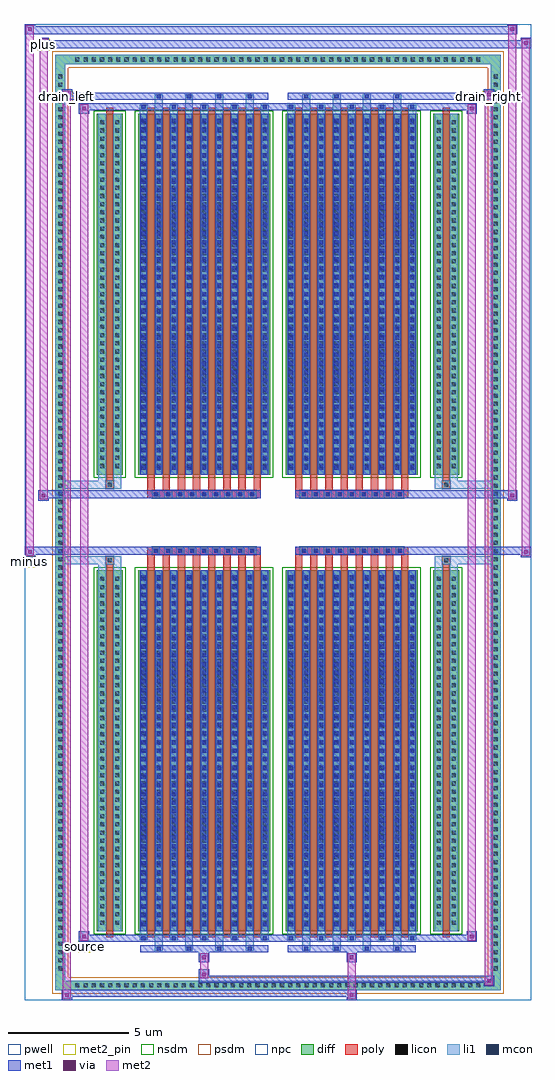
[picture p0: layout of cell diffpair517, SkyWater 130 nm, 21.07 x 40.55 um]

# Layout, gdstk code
import gdstk
lib = gdstk.Library(unit=1e-6, precision=5e-09)
def R(c, l, rs):  # rectangles x0, y0, x1, y1
    for r in rs: c.add(gdstk.rectangle(r[:2], r[2:], *l))
def A(c, l, x, y, w, h, nx, ny, dx, dy):  # array of equal rectangles
    R(c, l, [(x+i*dx, y+j*dy, x+i*dx+w, y+j*dy+h) for i in range(nx) for j in range(ny)])
def P(c, l, *ps):  # polygons
    for p in ps: c.add(gdstk.Polygon(p, *l))
pwell = (64, 44)
diff = (65, 20)
poly = (66, 20)
licon = (66, 44)
li1 = (67, 20)
mcon = (67, 44)
met1 = (68, 20)
via = (68, 44)
met2_pin = (69, 16)
met2 = (69, 20)
nsdm = (93, 44)
psdm = (94, 20)
npc = (95, 20)

diffpair517 = lib.new_cell('diffpair517')
R(diffpair517, pwell, [(-10.52,-19.84,10.52,20.71), (-7.84,-18.03,-0.01,-0.805), (0.01,-18.03,7.84,-0.805), (-7.84,0.805,-0.01,18.03), (0.01,0.805,7.84,18.03)])
A(diffpair517, diff, -8.535, -19.44, 0.41, 0.41, 50, 2, 0.34, 38.47)
A(diffpair517, diff, -9.25, -18.735, 0.41, 0.41, 1, 110, 0, 0.34)
A(diffpair517, diff, 8.84, -18.735, 0.41, 0.41, 1, 110, 0, 0.34)
R(diffpair517, diff, [(-8.535,-19.44,8.535,-19.03), (-9.25,-18.735,-8.84,18.735), (8.84,-18.735,9.25,18.735), (-7.53,-16.985,-6.45,-1.985), (-5.81,-16.985,-0.32,-1.985), (0.32,-16.985,5.81,-1.985), (6.45,-16.985,7.53,-1.985), (-7.53,1.985,-6.45,16.985), (-5.81,1.985,-0.32,16.985), (0.32,1.985,5.81,16.985), (6.45,1.985,7.53,16.985), (-8.535,19.03,8.535,19.44)])
P(diffpair517, diff, [(9.25,19.44),(-9.25,19.44),(-9.25,-19.03),(-8.84,-19.03),(-8.84,19.03),(8.84,19.03),(8.84,-19.03),(-8.84,-19.03),(-9.25,-19.03),(-9.25,-19.44),(9.25,-19.44)])
A(diffpair517, poly, -5.42, -17.235, 0.3, 15.5, 8, 2, 0.63, 18.97)
A(diffpair517, poly, 0.71, -17.235, 0.3, 15.5, 8, 2, 0.63, 18.97)
A(diffpair517, poly, -5.42, -1.735, 0.3, 0.4, 8, 2, 0.63, 3.07)
A(diffpair517, poly, 0.71, -1.735, 0.3, 0.4, 8, 2, 0.63, 3.07)
A(diffpair517, poly, -5.23, -1.335, 0.33, 0.33, 9, 2, 0.5, 2.34)
A(diffpair517, poly, 0.9, -1.335, 0.33, 0.33, 9, 2, 0.5, 2.34)
R(diffpair517, poly, [(-7.14,-17.235,-6.84,-1.735), (6.84,-17.235,7.14,-1.735), (-7.155,-1.735,-6.825,-1.405), (-7.155,-1.735,-6.825,-1.405), (6.825,-1.735,7.155,-1.405), (6.825,-1.735,7.155,-1.405), (-5.42,-1.335,-0.71,-1.005), (0.71,-1.335,5.42,-1.005), (-5.42,1.005,-0.71,1.335), (0.71,1.005,5.42,1.335), (-7.155,1.405,-6.825,1.735), (-7.155,1.405,-6.825,1.735), (6.825,1.405,7.155,1.735), (6.825,1.405,7.155,1.735), (-7.14,1.735,-6.84,17.235), (6.84,1.735,7.14,17.235)])
A(diffpair517, licon, -8.415, -19.32, 0.17, 0.17, 50, 2, 0.34, 38.47)
A(diffpair517, licon, -9.13, -18.615, 0.17, 0.17, 1, 110, 0, 0.34)
A(diffpair517, licon, 8.96, -18.615, 0.17, 0.17, 1, 110, 0, 0.34)
A(diffpair517, licon, -7.39, -16.71, 0.17, 0.17, 1, 43, 0, 0.34)
A(diffpair517, licon, -6.76, -16.71, 0.17, 0.17, 1, 43, 0, 0.34)
A(diffpair517, licon, -5.67, -16.71, 0.17, 0.17, 9, 43, 0.63, 0.34)
A(diffpair517, licon, 0.46, -16.71, 0.17, 0.17, 9, 43, 0.63, 0.34)
A(diffpair517, licon, 6.59, -16.71, 0.17, 0.17, 1, 43, 0, 0.34)
A(diffpair517, licon, 7.22, -16.71, 0.17, 0.17, 1, 43, 0, 0.34)
A(diffpair517, licon, -5.15, -1.255, 0.17, 0.17, 9, 2, 0.5, 2.34)
A(diffpair517, licon, 0.98, -1.255, 0.17, 0.17, 9, 2, 0.5, 2.34)
A(diffpair517, licon, -7.39, 2.26, 0.17, 0.17, 1, 43, 0, 0.34)
A(diffpair517, licon, -6.76, 2.26, 0.17, 0.17, 1, 43, 0, 0.34)
A(diffpair517, licon, -5.67, 2.26, 0.17, 0.17, 9, 43, 0.63, 0.34)
A(diffpair517, licon, 0.46, 2.26, 0.17, 0.17, 9, 43, 0.63, 0.34)
A(diffpair517, licon, 6.59, 2.26, 0.17, 0.17, 1, 43, 0, 0.34)
A(diffpair517, licon, 7.22, 2.26, 0.17, 0.17, 1, 43, 0, 0.34)
R(diffpair517, licon, [(-7.075,-1.655,-6.905,-1.485), (6.905,-1.655,7.075,-1.485), (-7.075,1.485,-6.905,1.655), (6.905,1.485,7.075,1.655)])
A(diffpair517, li1, -8.495, -19.4, 0.33, 0.33, 50, 2, 0.34, 38.47)
A(diffpair517, li1, -9.21, -18.695, 0.33, 0.33, 1, 110, 0, 0.34)
A(diffpair517, li1, 8.88, -18.695, 0.33, 0.33, 1, 110, 0, 0.34)
A(diffpair517, li1, -5.12, -17.79, 0.33, 0.805, 4, 2, 1.26, 34.775)
A(diffpair517, li1, -5.04, -17.79, 0.17, 0.17, 4, 2, 1.26, 35.41)
A(diffpair517, li1, 1.01, -17.79, 0.33, 0.805, 4, 2, 1.26, 34.775)
A(diffpair517, li1, 1.09, -17.79, 0.17, 0.17, 4, 2, 1.26, 35.41)
A(diffpair517, li1, -5.75, -17.36, 0.33, 0.375, 5, 2, 1.26, 34.345)
A(diffpair517, li1, -5.67, -17.36, 0.17, 0.17, 5, 2, 1.26, 34.55)
A(diffpair517, li1, 0.38, -17.36, 0.33, 0.375, 5, 2, 1.26, 34.345)
A(diffpair517, li1, 0.46, -17.36, 0.17, 0.17, 5, 2, 1.26, 34.55)
A(diffpair517, li1, -5.75, -16.985, 0.33, 15, 9, 2, 0.63, 18.97)
A(diffpair517, li1, 0.38, -16.985, 0.33, 15, 9, 2, 0.63, 18.97)
A(diffpair517, li1, -7.47, -16.79, 0.33, 0.33, 1, 43, 0, 0.34)
A(diffpair517, li1, -6.84, -16.79, 0.33, 0.33, 1, 43, 0, 0.34)
A(diffpair517, li1, -5.75, -16.79, 0.33, 0.33, 9, 43, 0.63, 0.34)
A(diffpair517, li1, 0.38, -16.79, 0.33, 0.33, 9, 43, 0.63, 0.34)
A(diffpair517, li1, 6.51, -16.79, 0.33, 0.33, 1, 43, 0, 0.34)
A(diffpair517, li1, 7.14, -16.79, 0.33, 0.33, 1, 43, 0, 0.34)
A(diffpair517, li1, -5.67, -16.77, 0.17, 0.17, 9, 41, 0.63, 0.36)
A(diffpair517, li1, -5.67, -16.77, 0.17, 14.57, 9, 2, 0.63, 18.97)
A(diffpair517, li1, 0.46, -16.77, 0.17, 0.17, 9, 41, 0.63, 0.36)
A(diffpair517, li1, 0.46, -16.77, 0.17, 14.57, 9, 2, 0.63, 18.97)
A(diffpair517, li1, -5.23, -1.335, 0.33, 0.33, 9, 2, 0.5, 2.34)
A(diffpair517, li1, 0.9, -1.335, 0.33, 0.33, 9, 2, 0.5, 2.34)
A(diffpair517, li1, -7.47, 2.18, 0.33, 0.33, 1, 43, 0, 0.34)
A(diffpair517, li1, -6.84, 2.18, 0.33, 0.33, 1, 43, 0, 0.34)
A(diffpair517, li1, -5.75, 2.18, 0.33, 0.33, 9, 43, 0.63, 0.34)
A(diffpair517, li1, 0.38, 2.18, 0.33, 0.33, 9, 43, 0.63, 0.34)
A(diffpair517, li1, 6.51, 2.18, 0.33, 0.33, 1, 43, 0, 0.34)
A(diffpair517, li1, 7.14, 2.18, 0.33, 0.33, 1, 43, 0, 0.34)
A(diffpair517, li1, -5.67, 2.2, 0.17, 0.17, 9, 41, 0.63, 0.36)
A(diffpair517, li1, 0.46, 2.2, 0.17, 0.17, 9, 41, 0.63, 0.36)
R(diffpair517, li1, [(-9.25,-19.44,-8.84,-19.03), (-9.25,-19.44,-8.84,-19.03), (-8.84,-19.44,8.84,-19.03), (8.84,-19.44,9.25,-19.03), (8.84,-19.44,9.25,-19.03), (-9.25,-19.03,-8.84,19.03), (8.84,-19.03,9.25,19.03), (-7.47,-16.985,-7.14,-1.985), (-6.84,-16.985,-6.51,-1.985), (6.51,-16.985,6.84,-1.985), (7.14,-16.985,7.47,-1.985), (-7.47,-1.985,-7.14,-1.405), (-6.84,-1.985,-6.51,-1.405), (6.51,-1.985,6.84,-1.405), (7.14,-1.985,7.47,-1.405), (-9.25,-1.735,-7.155,-1.405), (-7.47,-1.735,-7.155,-1.405), (-7.155,-1.735,-6.825,-1.405), (-6.825,-1.735,-6.51,-1.405), (6.51,-1.735,6.825,-1.405), (6.825,-1.735,7.155,-1.405), (6.825,-1.735,9.25,-1.405), (7.155,-1.735,7.47,-1.405), (-9.25,1.405,-7.155,1.735), (-7.47,1.405,-7.155,1.735), (-7.47,1.405,-7.14,1.985), (-7.155,1.405,-6.825,1.735), (-6.84,1.405,-6.51,1.985), (-6.825,1.405,-6.51,1.735), (6.51,1.405,6.825,1.735), (6.51,1.405,6.84,1.985), (6.825,1.405,7.155,1.735), (6.825,1.405,9.25,1.735), (7.14,1.405,7.47,1.985), (7.155,1.405,7.47,1.735), (-7.47,1.985,-7.14,16.985), (-6.84,1.985,-6.51,16.985), (6.51,1.985,6.84,16.985), (7.14,1.985,7.47,16.985), (-9.25,19.03,-8.84,19.44), (-9.25,19.03,-8.84,19.44), (-8.84,19.03,8.84,19.44), (8.84,19.03,9.25,19.44), (8.84,19.03,9.25,19.44)])
A(diffpair517, mcon, -5.04, -17.79, 0.17, 0.17, 4, 2, 1.26, 35.41)
A(diffpair517, mcon, 1.09, -17.79, 0.17, 0.17, 4, 2, 1.26, 35.41)
A(diffpair517, mcon, -5.67, -17.36, 0.17, 0.17, 5, 2, 1.26, 34.55)
A(diffpair517, mcon, 0.46, -17.36, 0.17, 0.17, 5, 2, 1.26, 34.55)
A(diffpair517, mcon, -5.67, -16.77, 0.17, 0.17, 9, 41, 0.63, 0.36)
A(diffpair517, mcon, 0.46, -16.77, 0.17, 0.17, 9, 41, 0.63, 0.36)
A(diffpair517, mcon, -5.15, -1.255, 0.17, 0.17, 9, 2, 0.5, 2.34)
A(diffpair517, mcon, 0.98, -1.255, 0.17, 0.17, 9, 2, 0.5, 2.34)
A(diffpair517, mcon, -5.67, 2.2, 0.17, 0.17, 9, 41, 0.63, 0.36)
A(diffpair517, mcon, 0.46, 2.2, 0.17, 0.17, 9, 41, 0.63, 0.36)
A(diffpair517, met1, -5.1, -17.85, 0.29, 0.29, 4, 2, 1.26, 35.41)
A(diffpair517, met1, 1.03, -17.85, 0.29, 0.29, 4, 2, 1.26, 35.41)
A(diffpair517, met1, -5.73, -17.42, 0.29, 0.29, 5, 2, 1.26, 34.55)
A(diffpair517, met1, 0.4, -17.42, 0.29, 0.29, 5, 2, 1.26, 34.55)
A(diffpair517, met1, -5.73, -16.985, 0.29, 15, 9, 2, 0.63, 18.97)
A(diffpair517, met1, 0.4, -16.985, 0.29, 15, 9, 2, 0.63, 18.97)
A(diffpair517, met1, -5.73, -16.83, 0.29, 0.29, 9, 41, 0.63, 0.36)
A(diffpair517, met1, 0.4, -16.83, 0.29, 0.29, 9, 41, 0.63, 0.36)
A(diffpair517, met1, -5.21, -1.315, 0.29, 0.29, 9, 2, 0.5, 2.34)
A(diffpair517, met1, 0.92, -1.315, 0.29, 0.29, 9, 2, 0.5, 2.34)
A(diffpair517, met1, -5.73, 2.14, 0.29, 0.29, 9, 41, 0.63, 0.36)
A(diffpair517, met1, 0.4, 2.14, 0.29, 0.29, 9, 41, 0.63, 0.36)
R(diffpair517, met1, [(-8.98,-19.84,-8.55,-19.41), (2.85,-19.84,3.28,-19.41), (-8.98,-19.7,3.28,-19.41), (8.55,-19.27,8.98,-18.84), (-3.28,-19.13,8.98,-18.84), (-3.28,-18.99,-2.85,-18.56), (-3.28,-18.28,-2.85,-17.85), (2.85,-18.28,3.28,-17.85), (-5.73,-17.85,-0.4,-17.56), (0.4,-17.85,5.73,-17.56), (-8.27,-17.42,-7.84,-16.99), (-8.27,-17.42,-5.73,-17.13), (-5.73,-17.42,-0.4,-17.13), (-0.4,-17.42,0.4,-17.13), (0.4,-17.42,5.73,-17.13), (5.73,-17.42,8.27,-17.13), (7.84,-17.42,8.27,-16.99), (-10.52,-1.435,-10.09,-1.005), (10.09,-1.435,10.52,-1.005), (-10.52,-1.335,-0.71,-1.005), (-5.42,-1.335,-0.71,-1.005), (0.71,-1.335,5.42,-1.005), (0.71,-1.335,10.52,-1.005), (-9.95,0.905,-9.52,1.335), (9.52,0.905,9.95,1.335), (-9.95,1.005,-5.42,1.335), (-5.42,1.005,-0.71,1.335), (0.71,1.005,5.42,1.335), (5.42,1.005,9.95,1.335), (-8.27,16.99,-7.84,17.42), (7.84,16.99,8.27,17.42), (-8.27,17.13,-5.73,17.42), (-5.73,17.13,-0.4,17.42), (-0.4,17.13,0.4,17.42), (0.4,17.13,5.73,17.42), (5.73,17.13,8.27,17.42), (-8.98,17.56,-8.55,17.99), (-8.98,17.56,-5.73,17.85), (-5.73,17.56,-0.4,17.85), (0.4,17.56,5.73,17.85), (5.73,17.56,8.98,17.85), (8.55,17.56,8.98,17.99), (-9.95,19.71,-9.52,20.14), (-9.95,19.71,-7.84,20.04), (-7.84,19.71,7.84,20.04), (7.84,19.71,10.52,20.04), (10.09,19.71,10.52,20.14), (-10.52,20.28,-10.09,20.71), (-10.52,20.28,-7.84,20.61), (-7.84,20.28,7.84,20.61), (7.84,20.28,9.95,20.61), (9.52,20.28,9.95,20.71)])
R(diffpair517, via, [(-8.84,-19.7,-8.69,-19.55), (2.99,-19.7,3.14,-19.55), (8.69,-19.13,8.84,-18.98), (-3.14,-18.85,-2.99,-18.7), (-3.14,-18.14,-2.99,-17.99), (2.99,-18.14,3.14,-17.99), (-8.13,-17.28,-7.98,-17.13), (7.98,-17.28,8.13,-17.13), (-10.38,-1.295,-10.23,-1.145), (10.23,-1.295,10.38,-1.145), (-9.81,1.045,-9.66,1.195), (9.66,1.045,9.81,1.195), (-8.13,17.13,-7.98,17.28), (7.98,17.13,8.13,17.28), (-8.84,17.7,-8.69,17.85), (8.69,17.7,8.84,17.85), (-9.81,19.85,-9.66,20), (10.23,19.85,10.38,20), (-10.38,20.42,-10.23,20.57), (9.66,20.42,9.81,20.57)])
R(diffpair517, met2_pin, [(-8.305,-17.87,-7.805,-17.37), (-10.555,-1.885,-10.055,-1.385), (-9.015,17.44,-8.515,17.94), (8.515,17.44,9.015,17.94), (-9.985,19.59,-9.485,20.09)])
R(diffpair517, met2, [(-8.93,-19.79,-8.6,-19.46), (-8.93,-19.79,-8.6,17.94), (2.9,-19.79,3.23,-19.46), (2.9,-19.46,3.23,-18.23), (8.6,-19.22,8.93,-18.89), (8.6,-19.22,8.93,17.94), (-3.23,-18.94,-2.9,-18.61), (-3.23,-18.61,-2.9,-18.23), (-3.23,-18.23,-2.9,-17.9), (2.9,-18.23,3.23,-17.9), (-8.22,-17.37,-7.89,-17.04), (-8.22,-17.37,-7.89,17.37), (7.89,-17.37,8.22,-17.04), (7.89,-17.37,8.22,17.37), (-10.47,-1.385,-10.14,-1.055), (-10.47,-1.385,-10.14,20.66), (10.14,-1.385,10.47,-1.055), (10.14,-1.385,10.47,20.09), (-9.9,0.955,-9.57,1.285), (-9.9,0.955,-9.57,20.09), (9.57,0.955,9.9,1.285), (9.57,0.955,9.9,20.66), (-8.22,17.04,-7.89,17.37), (7.89,17.04,8.22,17.37), (-8.93,17.61,-8.6,17.94), (8.6,17.61,8.93,17.94), (-9.9,19.76,-9.57,20.09), (10.14,19.76,10.47,20.09), (-10.47,20.33,-10.14,20.66), (9.57,20.33,9.9,20.66)])
P(diffpair517, met2, [(10.47,-1.385),(10.47,-1.385),(10.47,-1.055),(10.47,-1.055)],
  [(10.47,19.76),(10.47,19.76),(10.47,20.09),(10.47,20.09)],
  [(-10.14,-1.385),(-10.14,-1.385),(-10.14,-1.055),(-10.14,-1.055)],
  [(-10.14,20.33),(-10.14,20.33),(-10.14,20.66),(-10.14,20.66)],
  [(9.9,0.955),(9.9,0.955),(9.9,1.285),(9.9,1.285)],
  [(9.9,20.33),(9.9,20.33),(9.9,20.66),(9.9,20.66)],
  [(-9.57,0.955),(-9.57,0.955),(-9.57,1.285),(-9.57,1.285)],
  [(-9.57,19.76),(-9.57,19.76),(-9.57,20.09),(-9.57,20.09)],
  [(-8.6,-19.79),(-8.6,-19.79),(-8.6,-19.46),(-8.6,-19.46)],
  [(-8.6,17.61),(-8.6,17.61),(-8.6,17.94),(-8.6,17.94)],
  [(8.93,-19.22),(8.93,-19.22),(8.93,-18.89),(8.93,-18.89)],
  [(8.93,17.61),(8.93,17.61),(8.93,17.94),(8.93,17.94)],
  [(-7.89,-17.37),(-7.89,-17.37),(-7.89,-17.04),(-7.89,-17.04)],
  [(-7.89,17.04),(-7.89,17.04),(-7.89,17.37),(-7.89,17.37)],
  [(8.22,-17.37),(8.22,-17.37),(8.22,-17.04),(8.22,-17.04)],
  [(8.22,17.04),(8.22,17.04),(8.22,17.37),(8.22,17.37)])
R(diffpair517, nsdm, [(-7.66,-17.115,-6.32,-1.855), (-5.94,-17.115,-0.19,-1.855), (0.19,-17.115,5.94,-1.855), (6.32,-17.115,7.66,-1.855), (-7.66,1.855,-6.32,17.115), (-5.94,1.855,-0.19,17.115), (0.19,1.855,5.94,17.115), (6.32,1.855,7.66,17.115)])
P(diffpair517, psdm, [(9.38,19.57),(-9.38,19.57),(-9.38,-18.9),(-8.71,-18.9),(-8.71,18.9),(8.71,18.9),(8.71,-18.9),(-8.71,-18.9),(-9.38,-18.9),(-9.38,-19.57),(9.38,-19.57)])
A(diffpair517, npc, -5.25, -1.355, 0.37, 0.37, 9, 2, 0.5, 2.34)
A(diffpair517, npc, 0.88, -1.355, 0.37, 0.37, 9, 2, 0.5, 2.34)
R(diffpair517, npc, [(-7.175,-1.755,-6.805,-1.385), (6.805,-1.755,7.175,-1.385), (-5.25,-1.355,-4.38,-0.985), (-5.25,-1.355,-4.38,-0.985), (-4.75,-1.355,-3.88,-0.985), (-4.75,-1.355,-3.88,-0.985), (-4.25,-1.355,-3.38,-0.985), (-4.25,-1.355,-3.38,-0.985), (-3.75,-1.355,-2.88,-0.985), (-3.75,-1.355,-2.88,-0.985), (-3.25,-1.355,-2.38,-0.985), (-3.25,-1.355,-2.38,-0.985), (-2.75,-1.355,-1.88,-0.985), (-2.75,-1.355,-1.88,-0.985), (-2.25,-1.355,-1.38,-0.985), (-2.25,-1.355,-1.38,-0.985), (-1.75,-1.355,-0.88,-0.985), (-1.75,-1.355,-0.88,-0.985), (0.88,-1.355,1.75,-0.985), (0.88,-1.355,1.75,-0.985), (1.38,-1.355,2.25,-0.985), (1.38,-1.355,2.25,-0.985), (1.88,-1.355,2.75,-0.985), (1.88,-1.355,2.75,-0.985), (2.38,-1.355,3.25,-0.985), (2.38,-1.355,3.25,-0.985), (2.88,-1.355,3.75,-0.985), (2.88,-1.355,3.75,-0.985), (3.38,-1.355,4.25,-0.985), (3.38,-1.355,4.25,-0.985), (3.88,-1.355,4.75,-0.985), (3.88,-1.355,4.75,-0.985), (4.38,-1.355,5.25,-0.985), (4.38,-1.355,5.25,-0.985), (-5.25,0.985,-4.38,1.355), (-5.25,0.985,-4.38,1.355), (-4.75,0.985,-3.88,1.355), (-4.75,0.985,-3.88,1.355), (-4.25,0.985,-3.38,1.355), (-4.25,0.985,-3.38,1.355), (-3.75,0.985,-2.88,1.355), (-3.75,0.985,-2.88,1.355), (-3.25,0.985,-2.38,1.355), (-3.25,0.985,-2.38,1.355), (-2.75,0.985,-1.88,1.355), (-2.75,0.985,-1.88,1.355), (-2.25,0.985,-1.38,1.355), (-2.25,0.985,-1.38,1.355), (-1.75,0.985,-0.88,1.355), (-1.75,0.985,-0.88,1.355), (0.88,0.985,1.75,1.355), (0.88,0.985,1.75,1.355), (1.38,0.985,2.25,1.355), (1.38,0.985,2.25,1.355), (1.88,0.985,2.75,1.355), (1.88,0.985,2.75,1.355), (2.38,0.985,3.25,1.355), (2.38,0.985,3.25,1.355), (2.88,0.985,3.75,1.355), (2.88,0.985,3.75,1.355), (3.38,0.985,4.25,1.355), (3.38,0.985,4.25,1.355), (3.88,0.985,4.75,1.355), (3.88,0.985,4.75,1.355), (4.38,0.985,5.25,1.355), (4.38,0.985,5.25,1.355), (-7.175,1.385,-6.805,1.755), (6.805,1.385,7.175,1.755)])
diffpair517.add(gdstk.Label('minus', (-10.305,-1.635), layer=69, texttype=5))
diffpair517.add(gdstk.Label('drain_right', (8.765,17.69), layer=69, texttype=5))
diffpair517.add(gdstk.Label('drain_left', (-8.765,17.69), layer=69, texttype=5))
diffpair517.add(gdstk.Label('source', (-8.055,-17.62), layer=69, texttype=5))
diffpair517.add(gdstk.Label('plus', (-9.735,19.84), layer=69, texttype=5))

lib.write_gds('diffpair517.gds')
